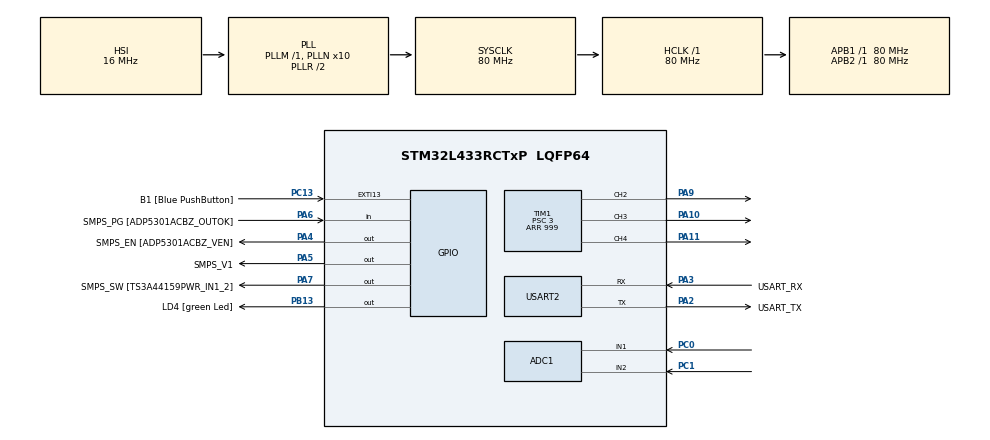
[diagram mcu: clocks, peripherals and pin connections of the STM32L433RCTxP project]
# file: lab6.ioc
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ADC1.Channel-0\#ChannelRegularConversion=ADC_CHANNEL_1
ADC1.Channel-1\#ChannelRegularConversion=ADC_CHANNEL_2
ADC1.ClockPrescaler=ADC_CLOCK_ASYNC_DIV4
ADC1.ContinuousConvMode=ENABLE
ADC1.NbrOfConversion=2
ADC1.NbrOfConversionFlag=1
ADC1.OffsetNumber-0\#ChannelRegularConversion=ADC_OFFSET_NONE
ADC1.OffsetNumber-1\#ChannelRegularConversion=ADC_OFFSET_NONE
ADC1.Rank-0\#ChannelRegularConversion=1
ADC1.Rank-1\#ChannelRegularConversion=2
ADC1.SamplingTime-0\#ChannelRegularConversion=ADC_SAMPLETIME_640CYCLES_5
ADC1.SamplingTime-1\#ChannelRegularConversion=ADC_SAMPLETIME_640CYCLES_5
ADC1.master=1
Mcu.Family=STM32L4
Mcu.Name=STM32L433RCTxP
Mcu.Package=LQFP64
NVIC.ADC1_IRQn=true\:0\:0\:false\:false\:true\:true\:true\:true
NVIC.PriorityGroup=NVIC_PRIORITYGROUP_4
NVIC.TIM1_UP_TIM16_IRQn=true\:0\:0\:false\:false\:true\:true\:true\:true
PA10.Signal=S_TIM1_CH3
PA11.Signal=S_TIM1_CH4
PA13\ (JTMS-SWDIO).GPIO_Label=TMS
PA13\ (JTMS-SWDIO).Mode=Serial_Wire
PA13\ (JTMS-SWDIO).Signal=SYS_JTMS-SWDIO
PA14\ (JTCK-SWCLK).GPIO_Label=TCK
PA14\ (JTCK-SWCLK).Mode=Serial_Wire
PA14\ (JTCK-SWCLK).Signal=SYS_JTCK-SWCLK
PA2.GPIO_Label=USART_TX
PA2.GPIO_Mode=GPIO_MODE_AF_PP
PA2.GPIO_PuPd=GPIO_NOPULL
PA2.GPIO_Speed=GPIO_SPEED_FREQ_VERY_HIGH
PA2.Mode=Asynchronous
PA2.Signal=USART2_TX
PA3.GPIO_Label=USART_RX
PA3.GPIO_Mode=GPIO_MODE_AF_PP
PA3.GPIO_PuPd=GPIO_NOPULL
PA3.GPIO_Speed=GPIO_SPEED_FREQ_VERY_HIGH
PA3.Mode=Asynchronous
PA3.Signal=USART2_RX
PA4.GPIO_Label=SMPS_EN [ADP5301ACBZ_VEN]
PA4.Signal=GPIO_Output
PA5.GPIO_Label=SMPS_V1
PA5.GPIO_ModeDefaultOutputPP=GPIO_MODE_OUTPUT_PP
PA5.GPIO_PuPd=GPIO_NOPULL
PA5.GPIO_Speed=GPIO_SPEED_FREQ_LOW
PA5.Signal=GPIO_Output
PA6.GPIO_Label=SMPS_PG [ADP5301ACBZ_OUTOK]
PA6.GPIO_PuPd=GPIO_PULLUP
PA6.Signal=GPIO_Input
PA7.GPIO_Label=SMPS_SW [TS3A44159PWR_IN1_2]
PA7.Signal=GPIO_Output
PA9.Signal=S_TIM1_CH2
PB13.GPIO_Label=LD4 [green Led]
PB13.Signal=GPIO_Output
PB3\ (JTDO-TRACESWO).GPIO_Label=SWO
PB3\ (JTDO-TRACESWO).Signal=SYS_JTDO-SWO
PC0.Signal=SharedAnalog_PC0
PC1.Signal=SharedAnalog_PC1
PC13.GPIO_Label=B1 [Blue PushButton]
PC13.GPIO_ModeDefaultEXTI=GPIO_MODE_IT_FALLING
PC13.GPIO_PuPd=GPIO_NOPULL
PC13.Signal=GPXTI13
PC14-OSC32_IN\ (PC14).Mode=LSE-External-Oscillator
PC14-OSC32_IN\ (PC14).Signal=RCC_OSC32_IN
PC15-OSC32_OUT\ (PC15).Mode=LSE-External-Oscillator
PC15-OSC32_OUT\ (PC15).Signal=RCC_OSC32_OUT
PH0-OSC_IN\ (PH0).GPIO_Label=MCO
PH0-OSC_IN\ (PH0).Mode=HSE-External-Clock-Source
PH0-OSC_IN\ (PH0).Signal=RCC_OSC_IN
PH1-OSC_OUT\ (PH1).Signal=RCC_OSC_OUT
ProjectManager.HeapSize=0x200
ProjectManager.StackSize=0x400
ProjectManager.TargetToolchain=STM32CubeIDE
RCC.ADCFreq_Value=64000000
RCC.AHBFreq_Value=80000000
RCC.APB1Freq_Value=80000000
RCC.APB1TimFreq_Value=80000000
RCC.APB2Freq_Value=80000000
RCC.APB2TimFreq_Value=80000000
RCC.CortexFreq_Value=80000000
RCC.HCLKFreq_Value=80000000
RCC.HSE_VALUE=8000000
RCC.HSI48_VALUE=48000000
RCC.HSI_VALUE=16000000
RCC.MSI_VALUE=4000000
RCC.PLLN=10
RCC.PLLSourceVirtual=RCC_PLLSOURCE_HSI
RCC.PREFETCH_ENABLE=1
RCC.SYSCLKFreq_VALUE=80000000
RCC.SYSCLKSource=RCC_SYSCLKSOURCE_PLLCLK
RCC.USBFreq_Value=64000000
RCC.VCOOutputFreq_Value=160000000
SH.S_TIM1_CH2.0=TIM1_CH2,PWM Generation2 CH2
SH.S_TIM1_CH3.0=TIM1_CH3,PWM Generation3 CH3
SH.S_TIM1_CH4.0=TIM1_CH4,PWM Generation4 CH4
SH.SharedAnalog_PC0.0=GPIO_Analog
SH.SharedAnalog_PC0.1=ADC1_IN1,IN1-Single-Ended
SH.SharedAnalog_PC1.0=GPIO_Analog
SH.SharedAnalog_PC1.1=ADC1_IN2,IN2-Single-Ended
TIM1.Channel-PWM\ Generation2\ CH2=TIM_CHANNEL_2
TIM1.Channel-PWM\ Generation3\ CH3=TIM_CHANNEL_3
TIM1.Channel-PWM\ Generation4\ CH4=TIM_CHANNEL_4
TIM1.Period=999
TIM1.Prescaler=3
USART2.VirtualMode-Asynchronous=VM_ASYNC
VP_TIM1_VS_ClockSourceINT.Mode=Internal
board=NUCLEO-L433RC-P

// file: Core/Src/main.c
/* USER CODE BEGIN Header */
/**
  ******************************************************************************
  * @file           : main.c
  * @brief          : Main program body
  ******************************************************************************
  * @attention
  *
  * Copyright (c) 2025 STMicroelectronics.
  * All rights reserved.
  *
  * This software is licensed under terms that can be found in the LICENSE file
  * in the root directory of this software component.
  * If no LICENSE file comes with this software, it is provided AS-IS.
  *
  ******************************************************************************
  */
/* USER CODE END Header */
#include "main.h"

/* USER CODE BEGIN Includes */
#include <math.h>
/* USER CODE END Includes */

/* USER CODE BEGIN PD */

	float freq = 0.5;
	static float t = 0.0f;

	const float offset = M_TWOPI / 3.0f;
	const float half_arr = 1000/2; /* set to (ARR+1) / 2.0f !!! */

/* USER CODE END PD */

ADC_HandleTypeDef hadc1;

TIM_HandleTypeDef htim1;

UART_HandleTypeDef huart2;

void SystemClock_Config(void);
static void MX_GPIO_Init(void);
static void MX_USART2_UART_Init(void);
static void MX_TIM1_Init(void);
static void MX_ADC1_Init(void);
/* USER CODE BEGIN PFP */
float rf = 0;
float bf = 0;
float gf = 0;

/* USER CODE END PFP */

/* USER CODE BEGIN 0 */

uint16_t isr_count = 0;
uint32_t last = 0;

#define ADC_BUF_SIZE 2
uint16_t adc_buffert[ADC_BUF_SIZE];
int adc_buf_ix = 0;
int adc_ready = 0;

void HAL_ADC_ConvCpltCallback( ADC_HandleTypeDef *hadc ){
	if(hadc->Instance == ADC1){
	       uint32_t value = HAL_ADC_GetValue(hadc);
	        adc_buffert[adc_buf_ix] = value;
	    	adc_buf_ix++;
	        if (adc_buf_ix >= ADC_BUF_SIZE){
	        	adc_ready = 1;
	        	adc_buf_ix = 0;
	        }
	}
}

void HAL_TIM_PeriodElapsedCallback(TIM_HandleTypeDef *htim) {

	if( htim->Instance == TIM1 ){
		isr_count ++;

	}
}
/* USER CODE END 0 */

int main(void)
{

  /* MCU Configuration--------------------------------------------------------*/

  /* Reset of all peripherals, Initializes the Flash interface and the Systick. */
  HAL_Init();

  /* Configure the system clock */
  SystemClock_Config();

  /* Initialize all configured peripherals */
  MX_GPIO_Init();
  MX_USART2_UART_Init();
  MX_TIM1_Init();
  MX_ADC1_Init();
  /* USER CODE BEGIN 2 */

  HAL_TIM_PWM_Start(&htim1, TIM_CHANNEL_2);
  HAL_TIM_PWM_Start(&htim1, TIM_CHANNEL_3);
  HAL_TIM_PWM_Start(&htim1, TIM_CHANNEL_4);

  HAL_TIM_Base_Start_IT(&htim1);
  HAL_ADC_Start_IT(&hadc1);

  //TIM1->CCR2 = 128;
  //TIM1->CCR3 = 128;
  //TIM1->CCR4 = 128;

  /* USER CODE END 2 */

  /* Infinite loop */
  /* USER CODE BEGIN WHILE */
  while (1)
  {

		float rf = sinf((M_TWOPI * t * freq) + (0 * offset));
		float gf = sinf((M_TWOPI * t * freq) + (1 * offset));
		float bf = sinf((M_TWOPI * t * freq) + (2 * offset));
		rf = (rf + 1.0) * half_arr * 0.5f;
		gf = (gf + 1.0) * half_arr * 0.3f;
		bf = (bf + 1.0) * half_arr * 0.4f;
		t += 0.000051;

		if(adc_ready){
			__HAL_TIM_SET_COMPARE(&htim1,TIM_CHANNEL_2,(uint32_t) ((adc_buffert[0]*255)/4095)*1.2);
			__HAL_TIM_SET_COMPARE(&htim1,TIM_CHANNEL_3,(uint32_t) ((adc_buffert[1]*255)/4095)*1.2);
				uint32_t mean = (adc_buffert[0]+adc_buffert[1])/2;
			__HAL_TIM_SET_COMPARE(&htim1,TIM_CHANNEL_4,(uint32_t) ((mean*255)/4095)*1.2);

		}

	  //__HAL_TIM_SET_COMPARE(&htim1,TIM_CHANNEL_3,(uint32_t) rf);
	  //__HAL_TIM_SET_COMPARE(&htim1,TIM_CHANNEL_4,(uint32_t) gf);

	  //i += (i + 1) % 255;
	  //TIM1->CCR2 = i;
	  //HAL_Delay(100);
    /* USER CODE END WHILE */

  }
}

void SystemClock_Config(void)
{
  RCC_OscInitTypeDef RCC_OscInitStruct = {0};
  RCC_ClkInitTypeDef RCC_ClkInitStruct = {0};

  /** Configure the main internal regulator output voltage
  */
  if (HAL_PWREx_ControlVoltageScaling(PWR_REGULATOR_VOLTAGE_SCALE1) != HAL_OK)
  {
    Error_Handler();
  }

  /** Initializes the RCC Oscillators according to the specified parameters
  * in the RCC_OscInitTypeDef structure.
  */
  RCC_OscInitStruct.OscillatorType = RCC_OSCILLATORTYPE_HSI;
  RCC_OscInitStruct.HSIState = RCC_HSI_ON;
  RCC_OscInitStruct.HSICalibrationValue = RCC_HSICALIBRATION_DEFAULT;
  RCC_OscInitStruct.PLL.PLLState = RCC_PLL_ON;
  RCC_OscInitStruct.PLL.PLLSource = RCC_PLLSOURCE_HSI;
  RCC_OscInitStruct.PLL.PLLM = 1;
  RCC_OscInitStruct.PLL.PLLN = 10;
  RCC_OscInitStruct.PLL.PLLP = RCC_PLLP_DIV7;
  RCC_OscInitStruct.PLL.PLLQ = RCC_PLLQ_DIV2;
  RCC_OscInitStruct.PLL.PLLR = RCC_PLLR_DIV2;
  if (HAL_RCC_OscConfig(&RCC_OscInitStruct) != HAL_OK)
  {
    Error_Handler();
  }

  /** Initializes the CPU, AHB and APB buses clocks
  */
  RCC_ClkInitStruct.ClockType = RCC_CLOCKTYPE_HCLK|RCC_CLOCKTYPE_SYSCLK
                              |RCC_CLOCKTYPE_PCLK1|RCC_CLOCKTYPE_PCLK2;
  RCC_ClkInitStruct.SYSCLKSource = RCC_SYSCLKSOURCE_PLLCLK;
  RCC_ClkInitStruct.AHBCLKDivider = RCC_SYSCLK_DIV1;
  RCC_ClkInitStruct.APB1CLKDivider = RCC_HCLK_DIV1;
  RCC_ClkInitStruct.APB2CLKDivider = RCC_HCLK_DIV1;

  if (HAL_RCC_ClockConfig(&RCC_ClkInitStruct, FLASH_LATENCY_4) != HAL_OK)
  {
    Error_Handler();
  }
}

static void MX_ADC1_Init(void)
{

  ADC_ChannelConfTypeDef sConfig = {0};

  /** Common config
  */
  hadc1.Instance = ADC1;
  hadc1.Init.ClockPrescaler = ADC_CLOCK_ASYNC_DIV4;
  hadc1.Init.Resolution = ADC_RESOLUTION_12B;
  hadc1.Init.DataAlign = ADC_DATAALIGN_RIGHT;
  hadc1.Init.ScanConvMode = ADC_SCAN_ENABLE;
  hadc1.Init.EOCSelection = ADC_EOC_SINGLE_CONV;
  hadc1.Init.LowPowerAutoWait = DISABLE;
  hadc1.Init.ContinuousConvMode = ENABLE;
  hadc1.Init.NbrOfConversion = 2;
  hadc1.Init.DiscontinuousConvMode = DISABLE;
  hadc1.Init.ExternalTrigConv = ADC_SOFTWARE_START;
  hadc1.Init.ExternalTrigConvEdge = ADC_EXTERNALTRIGCONVEDGE_NONE;
  hadc1.Init.DMAContinuousRequests = DISABLE;
  hadc1.Init.Overrun = ADC_OVR_DATA_PRESERVED;
  hadc1.Init.OversamplingMode = DISABLE;
  if (HAL_ADC_Init(&hadc1) != HAL_OK)
  {
    Error_Handler();
  }

  /** Configure Regular Channel
  */
  sConfig.Channel = ADC_CHANNEL_1;
  sConfig.Rank = ADC_REGULAR_RANK_1;
  sConfig.SamplingTime = ADC_SAMPLETIME_640CYCLES_5;
  sConfig.SingleDiff = ADC_SINGLE_ENDED;
  sConfig.OffsetNumber = ADC_OFFSET_NONE;
  sConfig.Offset = 0;
  if (HAL_ADC_ConfigChannel(&hadc1, &sConfig) != HAL_OK)
  {
    Error_Handler();
  }

  /** Configure Regular Channel
  */
  sConfig.Channel = ADC_CHANNEL_2;
  sConfig.Rank = ADC_REGULAR_RANK_2;
  if (HAL_ADC_ConfigChannel(&hadc1, &sConfig) != HAL_OK)
  {
    Error_Handler();
  }

}

static void MX_TIM1_Init(void)
{

  TIM_ClockConfigTypeDef sClockSourceConfig = {0};
  TIM_MasterConfigTypeDef sMasterConfig = {0};
  TIM_OC_InitTypeDef sConfigOC = {0};
  TIM_BreakDeadTimeConfigTypeDef sBreakDeadTimeConfig = {0};

  htim1.Instance = TIM1;
  htim1.Init.Prescaler = 3;
  htim1.Init.CounterMode = TIM_COUNTERMODE_UP;
  htim1.Init.Period = 999;
  htim1.Init.ClockDivision = TIM_CLOCKDIVISION_DIV1;
  htim1.Init.RepetitionCounter = 0;
  htim1.Init.AutoReloadPreload = TIM_AUTORELOAD_PRELOAD_DISABLE;
  if (HAL_TIM_Base_Init(&htim1) != HAL_OK)
  {
    Error_Handler();
  }
  sClockSourceConfig.ClockSource = TIM_CLOCKSOURCE_INTERNAL;
  if (HAL_TIM_ConfigClockSource(&htim1, &sClockSourceConfig) != HAL_OK)
  {
    Error_Handler();
  }
  if (HAL_TIM_PWM_Init(&htim1) != HAL_OK)
  {
    Error_Handler();
  }
  sMasterConfig.MasterOutputTrigger = TIM_TRGO_RESET;
  sMasterConfig.MasterOutputTrigger2 = TIM_TRGO2_RESET;
  sMasterConfig.MasterSlaveMode = TIM_MASTERSLAVEMODE_DISABLE;
  if (HAL_TIMEx_MasterConfigSynchronization(&htim1, &sMasterConfig) != HAL_OK)
  {
    Error_Handler();
  }
  sConfigOC.OCMode = TIM_OCMODE_PWM1;
  sConfigOC.Pulse = 0;
  sConfigOC.OCPolarity = TIM_OCPOLARITY_HIGH;
  sConfigOC.OCNPolarity = TIM_OCNPOLARITY_HIGH;
  sConfigOC.OCFastMode = TIM_OCFAST_DISABLE;
  sConfigOC.OCIdleState = TIM_OCIDLESTATE_RESET;
  sConfigOC.OCNIdleState = TIM_OCNIDLESTATE_RESET;
  if (HAL_TIM_PWM_ConfigChannel(&htim1, &sConfigOC, TIM_CHANNEL_2) != HAL_OK)
  {
    Error_Handler();
  }
  if (HAL_TIM_PWM_ConfigChannel(&htim1, &sConfigOC, TIM_CHANNEL_3) != HAL_OK)
  {
    Error_Handler();
  }
  if (HAL_TIM_PWM_ConfigChannel(&htim1, &sConfigOC, TIM_CHANNEL_4) != HAL_OK)
  {
    Error_Handler();
  }
  sBreakDeadTimeConfig.OffStateRunMode = TIM_OSSR_DISABLE;
  sBreakDeadTimeConfig.OffStateIDLEMode = TIM_OSSI_DISABLE;
  sBreakDeadTimeConfig.LockLevel = TIM_LOCKLEVEL_OFF;
  sBreakDeadTimeConfig.DeadTime = 0;
  sBreakDeadTimeConfig.BreakState = TIM_BREAK_DISABLE;
  sBreakDeadTimeConfig.BreakPolarity = TIM_BREAKPOLARITY_HIGH;
  sBreakDeadTimeConfig.BreakFilter = 0;
  sBreakDeadTimeConfig.Break2State = TIM_BREAK2_DISABLE;
  sBreakDeadTimeConfig.Break2Polarity = TIM_BREAK2POLARITY_HIGH;
  sBreakDeadTimeConfig.Break2Filter = 0;
  sBreakDeadTimeConfig.AutomaticOutput = TIM_AUTOMATICOUTPUT_DISABLE;
  if (HAL_TIMEx_ConfigBreakDeadTime(&htim1, &sBreakDeadTimeConfig) != HAL_OK)
  {
    Error_Handler();
  }
  HAL_TIM_MspPostInit(&htim1);

}

static void MX_USART2_UART_Init(void)
{

  huart2.Instance = USART2;
  huart2.Init.BaudRate = 115200;
  huart2.Init.WordLength = UART_WORDLENGTH_8B;
  huart2.Init.StopBits = UART_STOPBITS_1;
  huart2.Init.Parity = UART_PARITY_NONE;
  huart2.Init.Mode = UART_MODE_TX_RX;
  huart2.Init.HwFlowCtl = UART_HWCONTROL_NONE;
  huart2.Init.OverSampling = UART_OVERSAMPLING_16;
  huart2.Init.OneBitSampling = UART_ONE_BIT_SAMPLE_DISABLE;
  huart2.AdvancedInit.AdvFeatureInit = UART_ADVFEATURE_NO_INIT;
  if (HAL_UART_Init(&huart2) != HAL_OK)
  {
    Error_Handler();
  }

}

static void MX_GPIO_Init(void)
{
  GPIO_InitTypeDef GPIO_InitStruct = {0};

  /* GPIO Ports Clock Enable */
  __HAL_RCC_GPIOC_CLK_ENABLE();
  __HAL_RCC_GPIOH_CLK_ENABLE();
  __HAL_RCC_GPIOA_CLK_ENABLE();
  __HAL_RCC_GPIOB_CLK_ENABLE();

  /*Configure GPIO pin Output Level */
  HAL_GPIO_WritePin(GPIOA, SMPS_EN_Pin|SMPS_V1_Pin|SMPS_SW_Pin, GPIO_PIN_RESET);

  /*Configure GPIO pin Output Level */
  HAL_GPIO_WritePin(LD4_GPIO_Port, LD4_Pin, GPIO_PIN_RESET);

  /*Configure GPIO pin : B1_Pin */
  GPIO_InitStruct.Pin = B1_Pin;
  GPIO_InitStruct.Mode = GPIO_MODE_IT_FALLING;
  GPIO_InitStruct.Pull = GPIO_NOPULL;
  HAL_GPIO_Init(B1_GPIO_Port, &GPIO_InitStruct);

  /*Configure GPIO pins : SMPS_EN_Pin SMPS_V1_Pin SMPS_SW_Pin */
  GPIO_InitStruct.Pin = SMPS_EN_Pin|SMPS_V1_Pin|SMPS_SW_Pin;
  GPIO_InitStruct.Mode = GPIO_MODE_OUTPUT_PP;
  GPIO_InitStruct.Pull = GPIO_NOPULL;
  GPIO_InitStruct.Speed = GPIO_SPEED_FREQ_LOW;
  HAL_GPIO_Init(GPIOA, &GPIO_InitStruct);

  /*Configure GPIO pin : SMPS_PG_Pin */
  GPIO_InitStruct.Pin = SMPS_PG_Pin;
  GPIO_InitStruct.Mode = GPIO_MODE_INPUT;
  GPIO_InitStruct.Pull = GPIO_PULLUP;
  HAL_GPIO_Init(SMPS_PG_GPIO_Port, &GPIO_InitStruct);

  /*Configure GPIO pin : LD4_Pin */
  GPIO_InitStruct.Pin = LD4_Pin;
  GPIO_InitStruct.Mode = GPIO_MODE_OUTPUT_PP;
  GPIO_InitStruct.Pull = GPIO_NOPULL;
  GPIO_InitStruct.Speed = GPIO_SPEED_FREQ_LOW;
  HAL_GPIO_Init(LD4_GPIO_Port, &GPIO_InitStruct);

}

void Error_Handler(void)
{
  __disable_irq();
  while (1)
  {
  }
}
